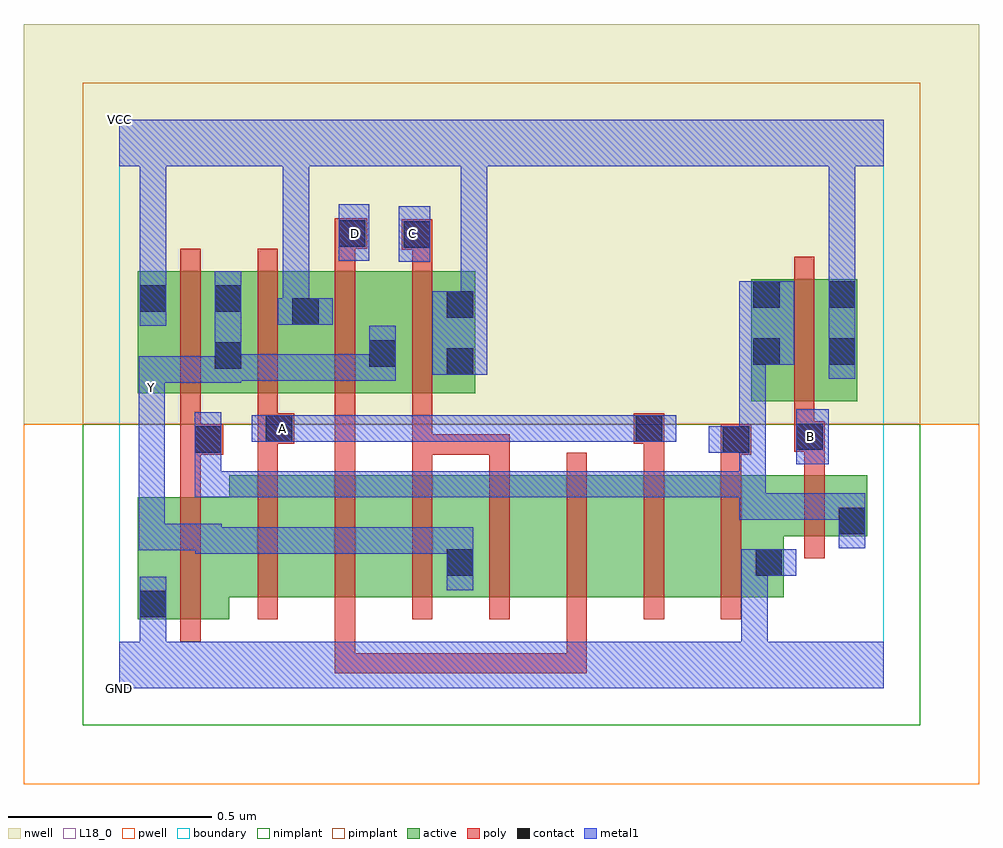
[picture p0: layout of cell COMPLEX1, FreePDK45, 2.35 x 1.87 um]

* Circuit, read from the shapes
.subckt COMPLEX1 A B C D GND VCC Y
M1 n1 n2 GND VSUBS nfet w=0.3u l=0.05u
M2 n3 A n1 VSUBS nfet w=0.3u l=0.05u
M3 n4 D n3 VSUBS nfet w=0.3u l=0.05u
M4 Y C n4 VSUBS nfet w=0.3u l=0.05u
M5 n5 C Y VSUBS nfet w=0.3u l=0.05u
M6 n6 D n5 VSUBS nfet w=0.3u l=0.05u
M7 n7 A n6 VSUBS nfet w=0.3u l=0.05u
M8 GND n2 n7 VSUBS nfet w=0.3u l=0.05u
M9 n2 B GND VSUBS nfet w=0.15u l=0.05u
M10 Y n2 VCC n8 pfet w=0.3u l=0.05u
M11 VCC A Y n8 pfet w=0.3u l=0.05u
M12 Y D VCC n8 pfet w=0.3u l=0.05u
M13 VCC C Y n8 pfet w=0.3u l=0.05u
M14 VCC B n2 n8 pfet w=0.3u l=0.05u
.ends

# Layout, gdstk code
import gdstk
lib = gdstk.Library(unit=1e-6, precision=1e-09)
def R(c, l, rs):  # rectangles x0, y0, x1, y1
    for r in rs: c.add(gdstk.rectangle(r[:2], r[2:], *l))
def A(c, l, x, y, w, h, nx, ny, dx, dy):  # array of equal rectangles
    R(c, l, [(x+i*dx, y+j*dy, x+i*dx+w, y+j*dy+h) for i in range(nx) for j in range(ny)])
active = (1, 0)
pwell = (2, 0)
nwell = (3, 0)
nimplant = (4, 0)
pimplant = (5, 0)
poly = (9, 0)
contact = (10, 0)
metal1 = (11, 0)
L18_0 = (18, 0)
boundary = (235, 0)

complex1 = lib.new_cell('COMPLEX1')
A(complex1, active, 0.23, 0.727, 0.265, 0.3, 3, 1, 0.19, 0)
R(complex1, active, [(0.045,0.17,0.27,0.47), (0.045,0.17,0.12,0.47), (0.27,0.225,0.46,0.525), (0.46,0.225,0.65,0.525), (0.65,0.225,0.875,0.525), (0.8,0.225,1.03,0.525), (0.8,0.225,0.875,0.525), (1.03,0.225,1.22,0.525), (1.22,0.225,1.41,0.525), (1.41,0.225,1.635,0.525), (1.56,0.225,1.635,0.375), (1.56,0.375,1.84,0.525), (1.765,0.375,1.84,0.525), (1.555,0.707,1.63,1.007), (1.555,0.707,1.815,1.007), (1.74,0.707,1.815,1.007), (0.045,0.727,0.12,1.027), (0.045,0.727,0.305,1.027), (0.61,0.727,0.685,1.005), (0.8,0.727,0.875,1.027), (0.42,0.747,0.495,1.027), (0.23,0.782,0.305,1.027)])
R(complex1, pwell, [(-0.235,-0.235,2.115,0.65)])
R(complex1, nwell, [(-0.235,0.65,2.115,1.635)])
R(complex1, nimplant, [(-0.09,-0.09,1.97,0.65)])
R(complex1, pimplant, [(-0.09,0.65,1.97,1.49)])
A(complex1, poly, 0.34, 0.17, 0.05, 0.41, 7, 1, 0.19, 0)
A(complex1, poly, 0.15, 0.672, 0.05, 0.41, 4, 1, 0.19, 0)
R(complex1, poly, [(0.53,0.037,0.58,0.22), (0.53,0.037,0.58,0.087), (0.53,0.037,0.58,0.087), (0.53,0.037,0.58,0.087), (0.53,0.037,0.77,0.087), (0.72,0.037,0.77,0.087), (0.72,0.037,0.77,0.087), (0.72,0.037,0.77,0.087), (0.72,0.037,0.902,0.087), (0.852,0.037,0.902,0.087), (0.852,0.037,1.15,0.087), (1.1,0.037,1.15,0.22), (1.1,0.037,1.15,0.087), (1.1,0.037,1.15,0.087), (1.1,0.037,1.15,0.087), (0.15,0.115,0.2,0.525), (1.685,0.32,1.735,0.58), (0.15,0.475,0.2,0.625), (0.34,0.53,0.39,0.652), (0.53,0.53,0.58,0.677), (0.72,0.53,0.77,0.625), (0.91,0.53,0.96,0.625), (1.29,0.53,1.34,0.652), (1.48,0.53,1.53,0.625), (1.685,0.53,1.735,0.632), (0.15,0.575,0.255,0.65), (0.72,0.575,0.77,0.625), (0.72,0.575,0.96,0.625), (0.72,0.575,0.77,0.722), (0.91,0.575,0.96,0.625), (0.91,0.575,0.96,0.625), (0.91,0.575,0.96,0.625), (1.48,0.575,1.555,0.65), (1.66,0.582,1.735,0.657), (0.15,0.6,0.2,0.722), (0.34,0.602,0.43,0.677), (1.265,0.602,1.34,0.677), (1.66,0.607,1.71,0.702), (0.34,0.627,0.39,0.722), (0.53,0.627,0.58,0.722), (0.53,0.627,0.58,0.677), (1.66,0.652,1.71,1.062), (0.53,1.032,0.58,1.132), (0.72,1.032,0.77,1.13), (0.695,1.08,0.77,1.155), (0.53,1.082,0.61,1.157)])
R(complex1, contact, [(0.05,0.175,0.115,0.24), (0.805,0.277,0.87,0.342), (1.565,0.277,1.63,0.342), (1.77,0.38,1.835,0.445), (0.185,0.58,0.25,0.645), (1.485,0.58,1.55,0.645), (1.665,0.587,1.73,0.652), (0.36,0.607,0.425,0.672), (1.27,0.607,1.335,0.672), (0.805,0.772,0.87,0.837), (0.235,0.787,0.3,0.852), (0.615,0.792,0.68,0.857), (1.56,0.797,1.625,0.862), (1.745,0.797,1.81,0.862), (0.425,0.895,0.49,0.96), (0.805,0.912,0.87,0.977), (0.05,0.927,0.115,0.992), (0.235,0.927,0.3,0.992), (1.56,0.937,1.625,1.002), (1.745,0.937,1.81,1.002), (0.7,1.085,0.765,1.15), (0.54,1.087,0.605,1.152)])
R(complex1, metal1, [(0,0,1.88,0.115), (0.05,0.05,0.115,0.115), (0.05,0.05,0.115,0.115), (0.05,0.05,0.115,0.205), (1.53,0.05,1.595,0.115), (1.53,0.05,1.595,0.115), (1.53,0.05,1.595,0.115), (1.53,0.05,1.595,0.115), (1.53,0.05,1.595,0.342), (0.05,0.14,0.115,0.205), (0.05,0.14,0.115,0.205), (0.05,0.14,0.115,0.275), (0.805,0.242,0.87,0.377), (1.53,0.277,1.665,0.342), (0.805,0.312,0.87,0.377), (0.805,0.312,0.87,0.397), (0.187,0.332,0.252,0.397), (0.187,0.332,0.252,0.397), (0.187,0.332,0.437,0.397), (0.187,0.332,0.252,0.405), (0.372,0.332,0.437,0.397), (0.372,0.332,0.437,0.397), (0.372,0.332,0.437,0.397), (0.372,0.332,0.605,0.397), (0.54,0.332,0.605,0.397), (0.54,0.332,0.605,0.397), (0.54,0.332,0.605,0.397), (0.54,0.332,0.87,0.397), (0.047,0.34,0.112,0.405), (0.047,0.34,0.252,0.405), (0.047,0.34,0.112,0.737), (1.77,0.345,1.835,0.48), (1.525,0.415,1.835,0.48), (1.525,0.415,1.59,0.535), (1.77,0.415,1.835,0.48), (1.77,0.415,1.835,0.48), (0.185,0.47,0.25,0.535), (0.185,0.47,0.437,0.535), (0.185,0.47,0.25,0.61), (0.372,0.47,0.437,0.535), (0.372,0.47,0.437,0.535), (0.372,0.47,0.437,0.535), (0.372,0.47,0.605,0.535), (0.54,0.47,0.605,0.535), (0.54,0.47,0.605,0.535), (0.54,0.47,0.605,0.535), (0.54,0.47,0.87,0.535), (0.805,0.47,0.87,0.535), (0.805,0.47,0.87,0.535), (0.805,0.47,0.87,0.535), (0.805,0.47,1.025,0.535), (0.96,0.47,1.025,0.535), (0.96,0.47,1.025,0.535), (0.96,0.47,1.025,0.535), (0.96,0.47,1.162,0.535), (1.097,0.47,1.162,0.535), (1.097,0.47,1.162,0.535), (1.097,0.47,1.162,0.535), (1.097,0.47,1.377,0.535), (1.312,0.47,1.377,0.535), (1.312,0.47,1.377,0.535), (1.312,0.47,1.377,0.535), (1.312,0.47,1.59,0.535), (1.525,0.47,1.59,0.535), (1.525,0.47,1.59,0.535), (1.525,0.47,1.59,0.645), (0.185,0.545,0.25,0.61), (0.185,0.545,0.25,0.61), (0.185,0.545,0.25,0.68), (1.665,0.552,1.745,0.687), (1.45,0.58,1.585,0.645), (1.52,0.58,1.59,0.645), (1.525,0.58,1.59,0.645), (1.525,0.58,1.59,0.862), (0.325,0.607,0.467,0.672), (0.402,0.607,0.467,0.672), (0.402,0.607,0.467,0.672), (0.402,0.607,0.605,0.672), (0.54,0.607,0.605,0.672), (0.54,0.607,0.605,0.672), (0.54,0.607,0.605,0.672), (0.54,0.607,0.752,0.672), (0.687,0.607,0.752,0.672), (0.687,0.607,0.752,0.672), (0.687,0.607,0.752,0.672), (0.687,0.607,1.007,0.672), (0.942,0.607,1.007,0.672), (0.942,0.607,1.007,0.672), (0.942,0.607,1.007,0.672), (0.942,0.607,1.162,0.672), (1.097,0.607,1.162,0.672), (1.097,0.607,1.162,0.672), (1.097,0.607,1.162,0.672), (1.097,0.607,1.3,0.672), (1.235,0.607,1.37,0.672), (0.047,0.672,0.112,0.737), (0.047,0.672,0.112,0.737), (0.047,0.672,0.112,0.807), (0.047,0.742,0.112,0.817), (0.047,0.752,0.112,0.817), (0.047,0.752,0.112,0.817), (0.047,0.752,0.112,0.817), (0.047,0.752,0.3,0.817), (0.235,0.752,0.3,1.027), (0.235,0.757,0.437,0.822), (0.372,0.757,0.437,0.822), (0.372,0.757,0.437,0.822), (0.372,0.757,0.437,0.822), (0.372,0.757,0.605,0.822), (0.54,0.757,0.605,0.822), (0.54,0.757,0.68,0.822), (0.615,0.757,0.68,0.892), (1.745,0.762,1.81,1.037), (0.77,0.772,0.905,0.977), (1.525,0.797,1.66,1.002), (0.05,0.892,0.115,1.027), (0.39,0.895,0.525,0.96), (0.402,0.895,0.467,1.35), (0.84,0.912,0.905,0.977), (0.84,0.912,0.905,0.977), (0.84,0.912,0.905,1.35), (0.05,0.962,0.115,1.027), (0.05,0.962,0.115,1.027), (0.05,0.962,0.115,1.027), (0.05,0.962,0.115,1.027), (0.05,0.962,0.115,1.35), (1.745,0.972,1.81,1.35), (0.687,1.05,0.765,1.187), (0.54,1.052,0.615,1.192), (0,1.285,1.88,1.4), (0.402,1.285,0.467,1.35), (0.402,1.285,0.467,1.35), (0.402,1.285,0.467,1.35), (0.402,1.285,0.467,1.35), (0.84,1.285,0.905,1.35), (0.84,1.285,0.905,1.35), (1.745,1.285,1.81,1.35), (1.745,1.285,1.81,1.35), (1.745,1.285,1.81,1.35), (1.745,1.285,1.81,1.35)])
R(complex1, L18_0, [(0,0,1.88,0.115), (0.05,0.05,0.115,0.115), (0.05,0.05,0.115,0.115), (0.05,0.05,0.115,0.205), (1.53,0.05,1.595,0.115), (1.53,0.05,1.595,0.115), (1.53,0.05,1.595,0.115), (1.53,0.05,1.595,0.115), (1.53,0.05,1.595,0.342), (0.05,0.14,0.115,0.205), (0.05,0.14,0.115,0.205), (0.05,0.14,0.115,0.275), (0.805,0.242,0.87,0.377), (1.53,0.277,1.665,0.342), (0.805,0.312,0.87,0.377), (0.805,0.312,0.87,0.397), (0.187,0.332,0.252,0.397), (0.187,0.332,0.252,0.397), (0.187,0.332,0.252,0.405), (0.187,0.332,0.437,0.397), (0.372,0.332,0.437,0.397), (0.372,0.332,0.437,0.397), (0.372,0.332,0.437,0.397), (0.372,0.332,0.605,0.397), (0.54,0.332,0.605,0.397), (0.54,0.332,0.605,0.397), (0.54,0.332,0.605,0.397), (0.54,0.332,0.87,0.397), (0.047,0.34,0.112,0.405), (0.047,0.34,0.112,0.737), (0.047,0.34,0.252,0.405), (1.665,0.552,1.745,0.687), (1.667,0.587,1.732,0.652), (0.325,0.607,0.467,0.672), (0.367,0.607,0.432,0.672), (0.402,0.607,0.467,0.672), (0.402,0.607,0.467,0.672), (0.402,0.607,0.605,0.672), (0.54,0.607,0.605,0.672), (0.54,0.607,0.605,0.672), (0.54,0.607,0.605,0.672), (0.54,0.607,0.752,0.672), (0.687,0.607,0.752,0.672), (0.687,0.607,0.752,0.672), (0.687,0.607,0.752,0.672), (0.687,0.607,1.007,0.672), (0.942,0.607,1.007,0.672), (0.942,0.607,1.007,0.672), (0.942,0.607,1.007,0.672), (0.942,0.607,1.162,0.672), (1.097,0.607,1.162,0.672), (1.097,0.607,1.162,0.672), (1.097,0.607,1.162,0.672), (1.097,0.607,1.3,0.672), (1.235,0.607,1.37,0.672), (0.047,0.672,0.112,0.737), (0.047,0.672,0.112,0.737), (0.047,0.672,0.112,0.807), (0.047,0.707,0.112,0.772), (0.047,0.742,0.112,0.817), (0.047,0.752,0.112,0.817), (0.047,0.752,0.112,0.817), (0.047,0.752,0.112,0.817), (0.047,0.752,0.3,0.817), (0.235,0.752,0.3,1.027), (0.235,0.757,0.437,0.822), (0.372,0.757,0.437,0.822), (0.372,0.757,0.437,0.822), (0.372,0.757,0.437,0.822), (0.372,0.757,0.605,0.822), (0.54,0.757,0.605,0.822), (0.54,0.757,0.68,0.822), (0.615,0.757,0.68,0.892), (1.745,0.762,1.81,1.037), (0.77,0.772,0.905,0.977), (0.05,0.892,0.115,1.027), (0.39,0.895,0.525,0.96), (0.402,0.895,0.467,1.35), (0.84,0.912,0.905,0.977), (0.84,0.912,0.905,0.977), (0.84,0.912,0.905,1.35), (0.05,0.962,0.115,1.027), (0.05,0.962,0.115,1.027), (0.05,0.962,0.115,1.027), (0.05,0.962,0.115,1.027), (0.05,0.962,0.115,1.35), (1.745,0.972,1.81,1.35), (0.687,1.05,0.765,1.187), (0.54,1.052,0.615,1.192), (0.547,1.087,0.612,1.152), (0.687,1.087,0.752,1.152), (0,1.285,1.88,1.4), (0.402,1.285,0.467,1.35), (0.402,1.285,0.467,1.35), (0.402,1.285,0.467,1.35), (0.402,1.285,0.467,1.35), (0.84,1.285,0.905,1.35), (0.84,1.285,0.905,1.35), (1.745,1.285,1.81,1.35), (1.745,1.285,1.81,1.35), (1.745,1.285,1.81,1.35), (1.745,1.285,1.81,1.35)])
R(complex1, boundary, [(0,0,1.88,1.4)])
complex1.add(gdstk.Label('A', (0.4,0.64), layer=11, texttype=0))
complex1.add(gdstk.Label('B', (1.7,0.62), layer=11, texttype=0))
complex1.add(gdstk.Label('C', (0.72,1.12), layer=11, texttype=0))
complex1.add(gdstk.Label('D', (0.58,1.12), layer=11, texttype=0))
complex1.add(gdstk.Label('Y', (0.08,0.74), layer=11, texttype=0))
complex1.add(gdstk.Label('VCC', (0,1.4), layer=11, texttype=0))
complex1.add(gdstk.Label('GND', (0,0), layer=11, texttype=0))

lib.write_gds('COMPLEX1.gds')
